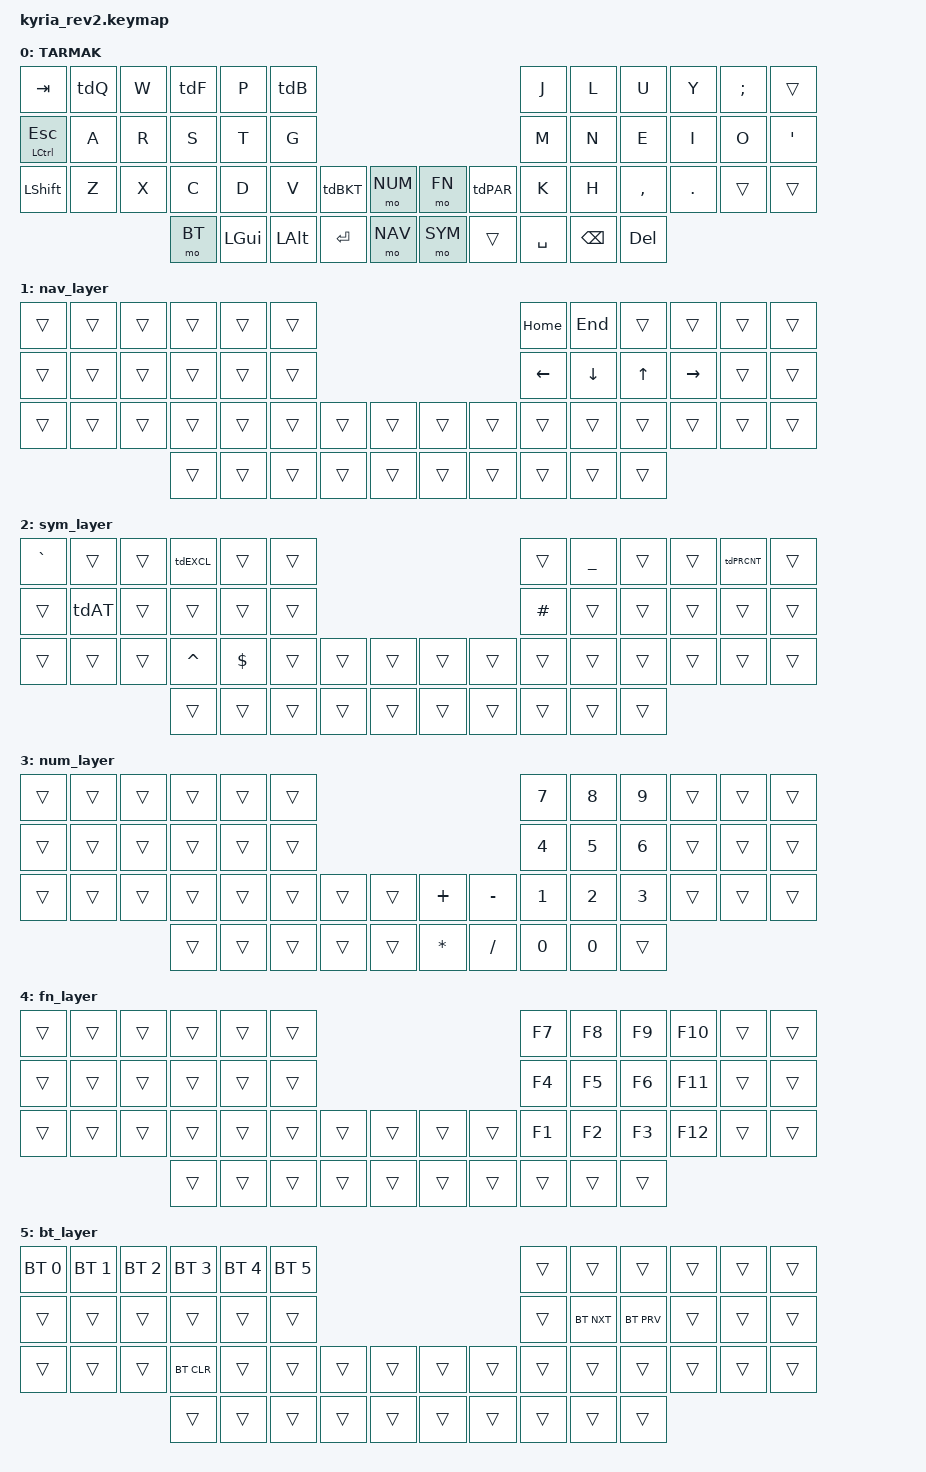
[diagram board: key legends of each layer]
/*
 * Copyright (c) 2020 The ZMK Contributors
 *
 * SPDX-License-Identifier: MIT
 */

#include <behaviors.dtsi>
#include <dt-bindings/zmk/keys.h>
#include <dt-bindings/zmk/bt.h>

// Layers, this wil be sorted by keymap array order
#define TARMAK  0
#define NAV     1
#define SYM     2
#define NUM     3
#define FN      4
#define BT      5

// ASCII art using Slant Style
// Use space for all indentation

/ {
    behaviors {
	tdQ: tap_dance_0 {
            compatible = "zmk,behavior-tap-dance";
            label = "TAP_DANCE_0";
            #binding-cells = <0>;
            tapping-term-ms = <200>;
            bindings = <&kp Q>, <&kp QMARK>;
        };
        
        tdPAR: tap_dance_1 {
            compatible = "zmk,behavior-tap-dance";
            label = "TAP_DANCE_1";
            #binding-cells = <0>;
            tapping-term-ms = <200>;
            bindings = <&kp LPAR>, <&kp RPAR>;
        };
        
        tdBKT: tap_dance_2 {
            compatible = "zmk,behavior-tap-dance";
            label = "TAP_DANCE_2";
            #binding-cells = <0>;
            tapping-term-ms = <200>;
            bindings = <&kp LBKT>, <&kp RBKT>;
        };
        
        tdF: tap_dance_3 {
            compatible = "zmk,behavior-tap-dance";
            label = "TAP_DANCE_3";
            #binding-cells = <0>;
            tapping-term-ms = <200>;
            bindings = <&kp F>, <&kp FSLH>;
        };
        
        tdB: tap_dance_4 {
            compatible = "zmk,behavior-tap-dance";
            label = "TAP_DANCE_4";
            #binding-cells = <0>;
            tapping-term-ms = <200>;
            bindings = <&kp B>, <&kp BSLH>;
        };
        
        tdAT: tap_dance_5 {
            compatible = "zmk,behavior-tap-dance";
            label = "TAP_DANCE_5";
            #binding-cells = <0>;
            tapping-term-ms = <200>;
            bindings = <&kp AT>, <&kp ASTRK>, <&kp AMPS>;
        };
        
        tdEXCL: tap_dance_6 {
            compatible = "zmk,behavior-tap-dance";
            label = "TAP_DANCE_6";
            #binding-cells = <0>;
            tapping-term-ms = <200>;
            bindings = <&kp EXCL>, <&kp EQUAL>;
        };
        
        tdPRCNT: tap_dance_7 {
            compatible = "zmk,behavior-tap-dance";
            label = "TAP_DANCE_7";
            #binding-cells = <0>;
            tapping-term-ms = <200>;
            bindings = <&kp PRCNT>, <&kp PIPE>;
        };
        
        tdDLR: tap_dance_8 {
            compatible = "zmk,behavior-tap-dance";
            label = "TAP_DANCE_8";
            #binding-cells = <0>;
            tapping-term-ms = <200>;
            bindings = <&kp D>, <&kp DLLR>;
        };
    };

    keymap {
      compatible = "zmk,keymap";

// ========================================================================================================================================================================================
//    _________    ____  __  ______    __ __      ____  __  __     ___
//   /_  __/   |  / __ \/  |/  /   |  / //_/     / __ \/ / / /    <  /
//    / / / /| | / /_/ / /|_/ / /| | / ,< ______/ / / / /_/ /_____/ / 
//   / / / ___ |/ _, _/ /  / / ___ |/ /| /_____/ /_/ / __  /_____/ /  
//  /_/ /_/  |_/_/ |_/_/  /_/_/  |_/_/ |_|    /_____/_/ /_/     /_/   
//
// +--------+-----+-----+------+-----+-----+                                     +-----+-----+-----+-----+------+------+
// |  TAB   |TD(Q)|  W  | F(/) |  P  | B(\)|                                     |  J  |  L  |  U  |  Y  |  ;   | NONE |
// +--------+-----+-----+------+-----+-----+                                     +-----+-----+-----+-----+------+------+
// |ESC/CTRL|  A  |  R  |  S   |  T  |  G  |                                     |  M  |  N  |  E  |  I  |  O   |  '   |
// +--------+-----+-----+------+-----+-----+-----------------+  +---------+------+-----+-----+-----+-----+------+------+
// |  SHFT  |  Z  |  X  |  C   |  D  |  V  |TD([/{)| MO(NUM) |  | MO(FN)  |TD(())|  K  |  H  |  ,  |  .  | NONE | NONE |
// +--------+-----+-----+------+-----+-----+-----------------+  +---------+------+-----+-----+-----+-----+------+------+
//                      |MO(BT)| GUI | ALT |  ENT  | MO(NAV) |  | MO(SYM) | NONE | SPC |BSPC | DEL |
//                      +------+-----+-----+-----------------+  +---------+------+-----+-----+-----+

TARMAK{
    bindings = <
        &kp TAB       &tdQ  &kp W &tdF   &kp P    &tdB                                           &kp J     &kp L    &kp U     &kp Y   &kp SEMI &trans
        &mt LCTRL ESC &kp A &kp R &kp S  &kp T    &kp G                                          &kp M     &kp N    &kp E     &kp I   &kp O    &kp SQT
        &kp LSHFT     &kp Z &kp X &kp C  &kp D    &kp V    &tdBKT  &mo NUM        &mo FN  &tdPAR &kp K     &kp H    &kp COMMA &kp DOT &trans   &trans
                                  &mo BT &kp LGUI &kp LALT &kp RET &mo NAV        &mo SYM &trans &kp SPACE &kp BSPC &kp DEL
    >;
};
		
// ========================================================================================================================================================================================
//      _   _____ _    __   __    _____  ____________ 
//     / | / /   | |  / /  / /   /   \ \/ / ____/ __ \
//    /  |/ / /| | | / /  / /   / /| |\  / __/ / /_/ /
//   / /|  / ___ | |/ /  / /___/ ___ |/ / /___/ _, _/ 
//  /_/ |_/_/  |_|___/  /_____/_/  |_/_/_____/_/ |_|  
//
// +-----+-----+-----+-----+-----+-----+                          +-----+-----+-----+-----+-----+-----+
// |     |     |     |     |     |     |                          |HOME | END |     |     |     |     |
// +-----+-----+-----+-----+-----+-----+                          +-----+-----+-----+-----+-----+-----+
// |     |     |     |     |     |     |                          |LEFT |DOWN | UP  |RIGHT|     |     |
// +-----+-----+-----+-----+-----+-----+-----+-----+  +-----+-----+-----+-----+-----+-----+-----+-----+
// |     |     |     |     |     |     |     |     |  |     |     |     |     |     |     |     |     |
// +-----+-----+-----+-----+-----+-----+-----+-----+  +-----+-----+-----+-----+-----+-----+-----+-----+
//                   |     |     |     |     |     |  |     |     |     |     |     |
//                   +-----+-----+-----+-----+-----+  +-----+-----+-----+-----+-----+

nav_layer{
    bindings = <
        &trans &trans &trans &trans &trans &trans                                    &kp HOME &kp END  &trans &trans    &trans &trans
        &trans &trans &trans &trans &trans &trans                                    &kp LEFT &kp DOWN &kp UP &kp RIGHT &trans &trans
        &trans &trans &trans &trans &trans &trans &trans &trans        &trans &trans &trans   &trans   &trans &trans    &trans &trans
                             &trans &trans &trans &trans &trans        &trans &trans &trans   &trans   &trans
    >;
};
        
// ========================================================================================================================================================================================
//     _______  ____  ___   __    _____  ____________ 
//    / ___/\ \/ /  |/  /  / /   /   \ \/ / ____/ __ \
//    \__ \  \  / /|_/ /  / /   / /| |\  / __/ / /_/ /
//    __/ /  / / /  / /  / /___/ ___ |/ / /___/ _, _/ 
//  /____/  /_/_/  /_/  /_____/_/  |_/_/_____/_/ |_|  
//
// +-----+-----+-----+-----+-----+-----+                          +-----+-----+-----+-----+-----+-----+
// |  `  |     |     |TD(!)|     |     |                          |     |  _  |     |     |TD(%)|     |
// +-----+-----+-----+-----+-----+-----+                          +-----+-----+-----+-----+-----+-----+
// |     |TD(@)|     |     |     |     |                          |  #  |     |     |     |     |     |
// +-----+-----+-----+-----+-----+-----+-----+-----+  +-----+-----+-----+-----+-----+-----+-----+-----+
// |     |     |     |  ^  |  $  |     |     |     |  |     |     |     |     |     |     |     |     |
// +-----+-----+-----+-----+-----+-----+-----+-----+  +-----+-----+-----+-----+-----+-----+-----+-----+
//                   |     |     |     |     |     |  |     |     |     |     |     |
//                   +-----+-----+-----+-----+-----+  +-----+-----+-----+-----+-----+

sym_layer{
    bindings = <
        &kp GRAVE &trans &trans &tdEXCL   &trans   &trans                                   &trans   &kp UNDER &trans &trans &tdPRCNT &trans
        &trans    &tdAT  &trans &trans    &trans   &trans                                   &kp HASH &trans    &trans &trans &trans   &trans
        &trans    &trans &trans &kp CARET &kp DLLR &trans &trans &trans       &trans &trans &trans   &trans    &trans &trans &trans   &trans
                                &trans    &trans   &trans &trans &trans       &trans &trans &trans   &trans    &trans
    >;
};

// ========================================================================================================================================================================================
//      _   ____  ____  ___   __    _____  ____________ 
//     / | / / / / /  |/  /  / /   /   \ \/ / ____/ __ \
//    /  |/ / / / / /|_/ /  / /   / /| |\  / __/ / /_/ /
//   / /|  / /_/ / /  / /  / /___/ ___ |/ / /___/ _, _/ 
//  /_/ |_/\____/_/  /_/  /_____/_/  |_/_/_____/_/ |_|  
// +-----+-----+-----+-----+-----+-----+                          +-----+-----+-----+-----+-----+-----+
// |     |     |     |     |     |     |                          |  7  |  8  |  9  |     |     |     |
// +-----+-----+-----+-----+-----+-----+                          +-----+-----+-----+-----+-----+-----+
// |     |     |     |     |     |     |                          |  4  |  5  |  6  |     |     |     |
// +-----+-----+-----+-----+-----+-----+-----+-----+  +-----+-----+-----+-----+-----+-----+-----+-----+
// |     |     |     |     |     |     |     |     |  |  +  |  -  |  1  |  2  |  3  |     |     |     |
// +-----+-----+-----+-----+-----+-----+-----+-----+  +-----+-----+-----+-----+-----+-----+-----+-----+
//                   |     |     |     |     |     |  |  *  |  /  |  0  |  0  |     |
//                   +-----+-----+-----+-----+-----+  +-----+-----+-----+-----+-----+

num_layer{
    bindings = <
        &trans &trans &trans &trans &trans &trans                                          &kp N7 &kp N8 &kp N9 &trans &trans &trans
        &trans &trans &trans &trans &trans &trans                                          &kp N4 &kp N5 &kp N6 &trans &trans &trans
        &trans &trans &trans &trans &trans &trans &trans &trans        &kp PLUS  &kp MINUS &kp N1 &kp N2 &kp N3 &trans &trans &trans
                             &trans &trans &trans &trans &trans        &kp ASTRK &kp FSLH  &kp N0 &kp N0 &trans
    >;
};

// ========================================================================================================================================================================================
//      _______   __   __    _____  ____________ 
//     / ____/ | / /  / /   /   \ \/ / ____/ __ \
//    / /_  /  |/ /  / /   / /| |\  / __/ / /_/ /
//   / __/ / /|  /  / /___/ ___ |/ / /___/ _, _/ 
//  /_/   /_/ |_/  /_____/_/  |_/_/_____/_/ |_|  
// +-----+-----+-----+-----+-----+-----+                          +-----+-----+-----+-----+-----+-----+
// |     |     |     |     |     |     |                          | F7  | F8  | F9  | F10 |     |     |
// +-----+-----+-----+-----+-----+-----+                          +-----+-----+-----+-----+-----+-----+
// |     |     |     |     |     |     |                          | F4  | F5  | F6  | F11 |     |     |
// +-----+-----+-----+-----+-----+-----+-----+-----+  +-----+-----+-----+-----+-----+-----+-----+-----+
// |     |     |     |     |     |     |     |     |  |     |     | F1  | F2  | F3  | F12 |     |     |
// +-----+-----+-----+-----+-----+-----+-----+-----+  +-----+-----+-----+-----+-----+-----+-----+-----+
//                   |     |     |     |     |     |  |     |     |     |     |     |
//                   +-----+-----+-----+-----+-----+  +-----+-----+-----+-----+-----+

fn_layer{
    bindings = <
        &trans &trans &trans &trans &trans &trans                                    &kp F7 &kp F8 &kp F9 &kp F10 &trans &trans
        &trans &trans &trans &trans &trans &trans                                    &kp F4 &kp F5 &kp F6 &kp F11 &trans &trans
        &trans &trans &trans &trans &trans &trans &trans &trans        &trans &trans &kp F1 &kp F2 &kp F3 &kp F12 &trans &trans
                             &trans &trans &trans &trans &trans        &trans &trans &trans &trans &trans
    >;
};

// ========================================================================================================================================================================================
//      ____ ______   __    _____  ____________ 
//     / __ )_  __/  / /   /   \ \/ / ____/ __ \
//    / __  |/ /    / /   / /| |\  / __/ / /_/ /
//   / /_/ // /    / /___/ ___ |/ / /___/ _, _/ 
//  /_____//_/    /_____/_/  |_/_/_____/_/ |_|  
// +-----+-----+-----+------+-----+-----+                          +-----+------+------+-----+-----+-----+
// | BT0 | BT1 | BT2 | BT3  | BT4 | BT5 |                          |     |      |      |     |     |     |
// +-----+-----+-----+------+-----+-----+                          +-----+------+------+-----+-----+-----+
// |     |     |     |      |     |     |                          |     |BT_NXT|BT_PRV|     |     |     |
// +-----+-----+-----+------+-----+-----+-----+-----+  +-----+-----+-----+------+------+-----+-----+-----+
// |     |     |     |BT_CLR|     |     |     |     |  |     |     |     |      |      |     |     |     |
// +-----+-----+-----+------+-----+-----+-----+-----+  +-----+-----+-----+------+------+-----+-----+-----+
//                   |      |     |     |     |     |  |     |     |     |      |      |
//                   +------+-----+-----+-----+-----+  +-----+-----+-----+------+------+
bt_layer{
    bindings = <
        &bt BT_SEL 0 &bt BT_SEL 1 &bt BT_SEL 2 &bt BT_SEL 3 &bt BT_SEL 4 &bt BT_SEL 5                                    &trans &trans     &trans     &trans &trans &trans
        &trans       &trans       &trans       &trans       &trans       &trans                                          &trans &bt BT_NXT &bt BT_PRV &trans &trans &trans
        &trans       &trans       &trans       &bt BT_CLR   &trans       &trans       &trans &trans        &trans &trans &trans &trans     &trans     &trans &trans &trans     
                                               &trans       &trans       &trans       &trans &trans        &trans &trans &trans &trans     &trans
    >;
};


};
};


// ========================================================================================================================================================================================
//   ______________  _______  __    ___  ____________
//  /_  __/ ____/  |/  / __ \/ /   /   |/_  __/ ____/
//   / / / __/ / /|_/ / /_/ / /   / /| | / / / __/   
//  / / / /___/ /  / / ____/ /___/ ___ |/ / / /___   
// /_/ /_____/_/  /_/_/   /_____/_/  |_/_/ /_____/   
//
// +-----+-----+-----+-----+-----+-----+                          +-----+-----+-----+-----+-----+-----+
// |     |     |     |     |     |     |                          |     |     |     |     |     |     |
// +-----+-----+-----+-----+-----+-----+                          +-----+-----+-----+-----+-----+-----+
// |     |     |     |     |     |     |                          |     |     |     |     |     |     |
// +-----+-----+-----+-----+-----+-----+-----+-----+  +-----+-----+-----+-----+-----+-----+-----+-----+
// |     |     |     |     |     |     |     |     |  |     |     |     |     |     |     |     |     |
// +-----+-----+-----+-----+-----+-----+-----+-----+  +-----+-----+-----+-----+-----+-----+-----+-----+
//                   |     |     |     |     |     |  |     |     |     |     |     |
//                   +-----+-----+-----+-----+-----+  +-----+-----+-----+-----+-----+
// bindings = <
//&trans &trans &trans &trans &trans &trans                                    &trans &trans &trans &trans &trans &trans
//&trans &trans &trans &trans &trans &trans                                    &trans &trans &trans &trans &trans &trans
//&trans &trans &trans &trans &trans &trans &trans &trans        &trans &trans &trans &trans &trans &trans &trans &trans
//                     &trans &trans &trans &trans &trans        &trans &trans &trans &trans &trans
//>;
// ========================================================================================================================================================================================
